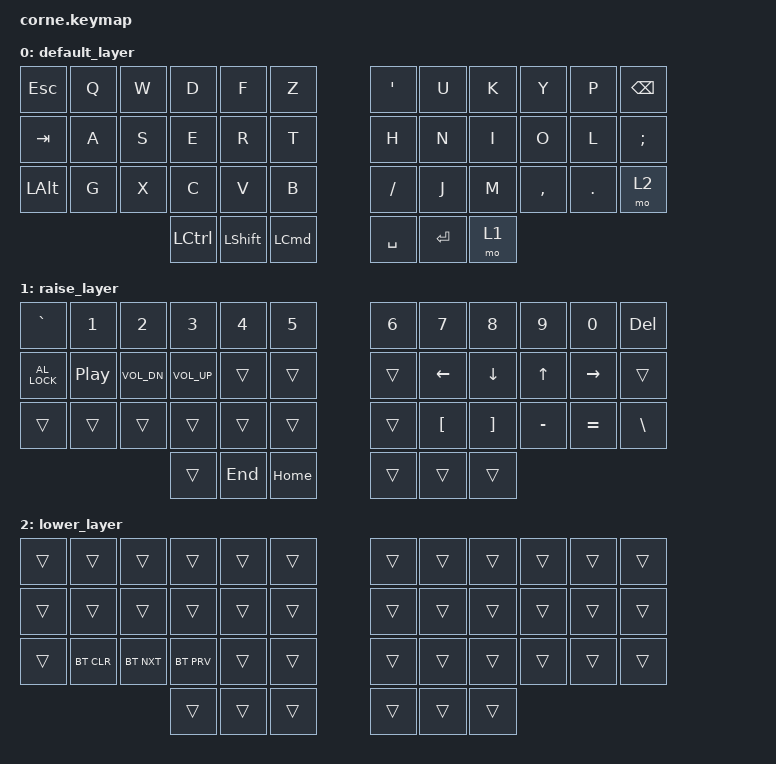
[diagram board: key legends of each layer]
/*
 * Copyright (c) 2020 The ZMK Contributors
 * Another edit
 * SPDX-License-Identifier: MIT
 */

#include <behaviors.dtsi>
#include <dt-bindings/zmk/keys.h>
#include <dt-bindings/zmk/bt.h>

/ {
        keymap {
                compatible = "zmk,keymap";

                default_layer {
// -----------------------------------------------------------------------------------------
// | ESC  |  Q  |  W  |  D  |  F  |  Z  |   |  '  |  U   |  K  |  Y  |  P  | BKSP |
// | TAB  |  A  |  S  |  E  |  R  |  T  |   |  H  |  N   |  I  |  O  |  L  |  ;   |
// | LALT |  G  |  X  |  C  |  V  |  B  |   |SLASH|  J   |  M  |  <  |  >  |2(LWR)|
//                    | CTRL|SHIFT| LCMD|   | SPC | RET  | 1(RSE) |
                        bindings = <
   &kp ESC   &kp Q &kp W &kp D &kp F &kp Z   &kp APOS     &kp U  &kp K     &kp Y        &kp P    &kp BSPC
   &kp TAB   &kp A &kp S &kp E &kp R &kp T   &kp H        &kp N  &kp I     &kp O        &kp L    &kp SEMI
   &kp LALT  &kp G &kp X &kp C &kp V &kp B   &kp SLASH    &kp J  &kp M     &kp COMMA    &kp DOT  &mo 2
                   &kp LCTRL   &kp LSHIFT    &kp LCMD     &kp SPACE &kp RET &mo 1
                        >;
                };
raise_layer{
// -----------------------------------------------------------------------------------------
// | Grave |  1  |  2  |  3  |  4  |  5  |   |  6  |  7  |  8  |  9  |  0  | DEL |
// | C_AL_LOCK
// |       | K_PP|K_VOL_DN|K_VOL_UP|     |   |     |  [  |  ]  |  -  |  =  |     |
// |       |     |     |     |     |     |   |     | LFT | DWN |  UP | RGT |  \  |
//                     |     |     | Home|   |     |     |     |
                        bindings = <
   &kp GRAVE       &kp N1       &kp N2         &kp N3         &kp N4      &kp N5     &kp N6     &kp N7     &kp N8     &kp N9     &kp N0     &kp DEL
   &kp C_AL_LOCK   &kp C_PP     &kp K_VOL_DN   &kp K_VOL_UP   &trans      &trans     &trans     &kp LEFT   &kp DOWN   &kp UP     &kp RIGHT  &trans
   &trans          &trans       &trans         &trans         &trans      &trans     &trans     &kp LBKT   &kp RBKT   &kp MINUS  &kp EQUAL  &kp BSLH  
                                &trans         &kp END        &kp HOME    &trans     &trans     &trans
                        >;
                };
                lower_layer{
// -----------------------------------------------------------------------------------------
// |        |     |     |     |     |     |   |     |     |     |     |     |      |
// |        |     |     |     |     |     |   |     |     |     |     |     |      |
// |        |BT_CLR|BT_NXT|BT_PRV|  |     |   |     |     |     |     |     |      |
//                      |     |     |     |   |     |     |     |
                        bindings = <
   &trans  &trans        &trans        &trans        &trans        &trans        &trans        &trans        &trans        &trans        &trans        &trans
   &trans  &trans        &trans        &trans        &trans        &trans        &trans        &trans        &trans        &trans        &trans        &trans   
   &trans  &bt BT_CLR    &bt BT_NXT    &bt BT_PRV    &trans        &trans        &trans        &trans        &trans        &trans        &trans        &trans
                                       &trans        &trans        &trans        &trans        &trans        &trans
                        >;
        };
     };
};
